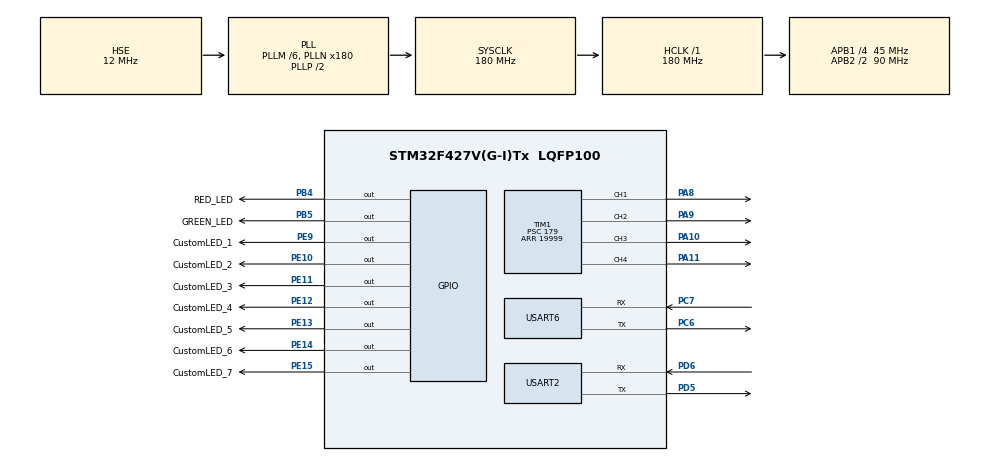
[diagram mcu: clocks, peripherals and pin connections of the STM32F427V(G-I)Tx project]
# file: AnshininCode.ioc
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Dma.Request0=USART2_RX
Dma.USART2_RX.0.Direction=DMA_PERIPH_TO_MEMORY
Dma.USART2_RX.0.FIFOMode=DMA_FIFOMODE_DISABLE
Dma.USART2_RX.0.Instance=DMA1_Stream5
Dma.USART2_RX.0.MemDataAlignment=DMA_MDATAALIGN_BYTE
Dma.USART2_RX.0.MemInc=DMA_MINC_ENABLE
Dma.USART2_RX.0.Mode=DMA_NORMAL
Dma.USART2_RX.0.PeriphDataAlignment=DMA_PDATAALIGN_BYTE
Dma.USART2_RX.0.PeriphInc=DMA_PINC_DISABLE
Dma.USART2_RX.0.Priority=DMA_PRIORITY_MEDIUM
Mcu.Family=STM32F4
Mcu.Name=STM32F427V(G-I)Tx
Mcu.Package=LQFP100
NVIC.DMA1_Stream5_IRQn=true\:0\:0\:false\:false\:true\:false
NVIC.PriorityGroup=NVIC_PRIORITYGROUP_4
NVIC.TIM5_IRQn=true\:1\:0\:true\:true\:true\:1\:true
NVIC.USART2_IRQn=true\:0\:0\:true\:false\:true\:true
NVIC.USART6_IRQn=true\:0\:0\:true\:true\:true\:2\:true
PA0/WKUP.Mode=SYS_WakeUp0
PA0/WKUP.Signal=SYS_WKUP
PA10.Signal=S_TIM1_CH3
PA11.Signal=S_TIM1_CH4
PA13.Mode=Serial_Wire
PA13.Signal=SYS_JTMS-SWDIO
PA14.Mode=Serial_Wire
PA14.Signal=SYS_JTCK-SWCLK
PA8.Signal=S_TIM1_CH1
PA9.Signal=S_TIM1_CH2
PB4.GPIO_Label=RED_LED
PB4.GPIO_Speed=GPIO_SPEED_FREQ_LOW
PB4.PinState=GPIO_PIN_SET
PB4.Signal=GPIO_Output
PB5.GPIO_Label=GREEN_LED
PB5.PinState=GPIO_PIN_SET
PB5.Signal=GPIO_Output
PC6.Mode=Asynchronous
PC6.Signal=USART6_TX
PC7.Mode=Asynchronous
PC7.Signal=USART6_RX
PD5.Mode=Asynchronous
PD5.Signal=USART2_TX
PD6.Mode=Asynchronous
PD6.Signal=USART2_RX
PE10.GPIO_Label=CustomLED_2
PE10.PinState=GPIO_PIN_SET
PE10.Signal=GPIO_Output
PE11.GPIO_Label=CustomLED_3
PE11.PinState=GPIO_PIN_SET
PE11.Signal=GPIO_Output
PE12.GPIO_Label=CustomLED_4
PE12.PinState=GPIO_PIN_SET
PE12.Signal=GPIO_Output
PE13.GPIO_Label=CustomLED_5
PE13.PinState=GPIO_PIN_SET
PE13.Signal=GPIO_Output
PE14.GPIO_Label=CustomLED_6
PE14.PinState=GPIO_PIN_SET
PE14.Signal=GPIO_Output
PE15.GPIO_Label=CustomLED_7
PE15.PinState=GPIO_PIN_SET
PE15.Signal=GPIO_Output
PE9.GPIO_Label=CustomLED_1
PE9.PinState=GPIO_PIN_SET
PE9.Signal=GPIO_Output
PH0/OSC_IN.Mode=HSE-External-Oscillator
PH0/OSC_IN.Signal=RCC_OSC_IN
PH1/OSC_OUT.Mode=HSE-External-Oscillator
PH1/OSC_OUT.Signal=RCC_OSC_OUT
ProjectManager.HeapSize=0x200
ProjectManager.StackSize=0x400
ProjectManager.TargetToolchain=MDK-ARM V5
RCC.48MHZClocksFreq_Value=90000000
RCC.AHBFreq_Value=180000000
RCC.APB1CLKDivider=RCC_HCLK_DIV4
RCC.APB1Freq_Value=45000000
RCC.APB1TimFreq_Value=90000000
RCC.APB2CLKDivider=RCC_HCLK_DIV2
RCC.APB2Freq_Value=90000000
RCC.APB2TimFreq_Value=180000000
RCC.CortexFreq_Value=180000000
RCC.EnbaleCSS=true
RCC.HCLKFreq_Value=180000000
RCC.HSE_VALUE=12000000
RCC.HSI_VALUE=16000000
RCC.LSE_VALUE=32768
RCC.PLLM=6
RCC.PLLN=180
RCC.PLLSourceVirtual=RCC_PLLSOURCE_HSE
RCC.SYSCLKFreq_VALUE=180000000
RCC.SYSCLKSource=RCC_SYSCLKSOURCE_PLLCLK
RCC.VCOOutputFreq_Value=360000000
SH.S_TIM1_CH1.0=TIM1_CH1,PWM Generation1 CH1
SH.S_TIM1_CH2.0=TIM1_CH2,PWM Generation2 CH2
SH.S_TIM1_CH3.0=TIM1_CH3,PWM Generation3 CH3
SH.S_TIM1_CH4.0=TIM1_CH4,PWM Generation4 CH4
TIM1.Channel-PWM\ Generation1\ CH1=TIM_CHANNEL_1
TIM1.Channel-PWM\ Generation2\ CH2=TIM_CHANNEL_2
TIM1.Channel-PWM\ Generation3\ CH3=TIM_CHANNEL_3
TIM1.Channel-PWM\ Generation4\ CH4=TIM_CHANNEL_4
TIM1.OCIdleState_4=TIM_OCIDLESTATE_RESET
TIM1.Period=19999
TIM1.Prescaler=179
TIM1.Pulse-PWM\ Generation1\ CH1=1000
TIM1.Pulse-PWM\ Generation2\ CH2=1000
TIM1.Pulse-PWM\ Generation3\ CH3=1000
TIM1.Pulse-PWM\ Generation4\ CH4=1000
TIM5.Period=9999
TIM5.Prescaler=179
TIM5.TIM_MasterOutputTrigger=TIM_TRGO_UPDATE
USART2.VirtualMode=VM_ASYNC
USART6.OverSampling=UART_OVERSAMPLING_8
USART6.VirtualMode=VM_ASYNC
VP_TIM1_VS_ClockSourceINT.Mode=Internal
VP_TIM5_VS_ClockSourceINT.Mode=Internal
board=custom

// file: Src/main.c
/* USER CODE BEGIN Header */
/**
  ******************************************************************************
  * @file           : main.c
  * @brief          : Main program body
  ******************************************************************************
  ** This notice applies to any and all portions of this file
  * that are not between comment pairs USER CODE BEGIN and
  * USER CODE END. Other portions of this file, whether
  * inserted by the user or by software development tools
  * are owned by their respective copyright owners.
  *
  * COPYRIGHT(c) 2019 STMicroelectronics
  *
  * Redistribution and use in source and binary forms, with or without modification,
  * are permitted provided that the following conditions are met:
  *   1. Redistributions of source code must retain the above copyright notice,
  *      this list of conditions and the following disclaimer.
  *   2. Redistributions in binary form must reproduce the above copyright notice,
  *      this list of conditions and the following disclaimer in the documentation
  *      and/or other materials provided with the distribution.
  *   3. Neither the name of STMicroelectronics nor the names of its contributors
  *      may be used to endorse or promote products derived from this software
  *      without specific prior written permission.
  *
  * THIS SOFTWARE IS PROVIDED BY THE COPYRIGHT HOLDERS AND CONTRIBUTORS "AS IS"
  * AND ANY EXPRESS OR IMPLIED WARRANTIES, INCLUDING, BUT NOT LIMITED TO, THE
  * IMPLIED WARRANTIES OF MERCHANTABILITY AND FITNESS FOR A PARTICULAR PURPOSE ARE
  * DISCLAIMED. IN NO EVENT SHALL THE COPYRIGHT HOLDER OR CONTRIBUTORS BE LIABLE
  * FOR ANY DIRECT, INDIRECT, INCIDENTAL, SPECIAL, EXEMPLARY, OR CONSEQUENTIAL
  * DAMAGES (INCLUDING, BUT NOT LIMITED TO, PROCUREMENT OF SUBSTITUTE GOODS OR
  * SERVICES; LOSS OF USE, DATA, OR PROFITS; OR BUSINESS INTERRUPTION) HOWEVER
  * CAUSED AND ON ANY THEORY OF LIABILITY, WHETHER IN CONTRACT, STRICT LIABILITY,
  * OR TORT (INCLUDING NEGLIGENCE OR OTHERWISE) ARISING IN ANY WAY OUT OF THE USE
  * OF THIS SOFTWARE, EVEN IF ADVISED OF THE POSSIBILITY OF SUCH DAMAGE.
  *
  ******************************************************************************
  */
/* USER CODE END Header */

#include "main.h"
#include "dma.h"
#include "tim.h"
#include "usart.h"
#include "gpio.h"

/* USER CODE BEGIN PD */
#define BlueToothBufferLength 7
/* USER CODE END PD */

void SystemClock_Config(void);
static void MX_NVIC_Init(void);

/* USER CODE BEGIN 0 */

/*USART6接收缓冲*/
uint8_t Usart6RxBuffer[10];
uint8_t Usart6TxBuffer[10];

/*蓝牙接收缓冲*/
uint8_t BLE4_BlueToothBuffer[BlueToothBufferLength];

uint8_t Uart6_RxBuff[256];		//接收缓冲
uint16_t Uart6_Rx_Cnt = 0;		//接收缓冲计数
uint8_t	cAlmStr[] = "数据溢出(大于256)\r\n";
/* USER CODE END 0 */

int main(void)
{

  /* MCU Configuration--------------------------------------------------------*/

  /* Reset of all peripherals, Initializes the Flash interface and the Systick. */
  HAL_Init();

  /* Configure the system clock */
  SystemClock_Config();

  /* Initialize all configured peripherals */
  MX_GPIO_Init();
  MX_DMA_Init();
  MX_TIM1_Init();
  MX_TIM5_Init();
  MX_USART6_UART_Init();
  MX_USART2_UART_Init();

  /* Initialize interrupts */
  MX_NVIC_Init();
  /* USER CODE BEGIN 2 */

	/*开启TIM1的基本定时器配置*/
	HAL_TIM_Base_Start(&htim1);

	/*开启TIM5的中断定时器配置*/
	HAL_TIM_Base_Start_IT(&htim5);

	/*开启USART6接收中断*/
	__HAL_UART_ENABLE_IT(&huart6,UART_IT_RXNE);

	/*开启USART2 RXDMA,并设置地址和源(不开启DMA中断)*/
	HAL_DMA_Start(&hdma_usart2_rx,(uint32_t)(&USART6->DR),(uint32_t)BLE4_BlueToothBuffer,BlueToothBufferLength);
	/*开启USART2空闲中断*/
	__HAL_UART_ENABLE_IT(&huart2,UART_IT_IDLE);

	/*PWM初始化*/
	HAL_TIM_PWM_Start(&htim1, TIM_CHANNEL_1);
	HAL_TIM_PWM_Start(&htim1, TIM_CHANNEL_2);
	HAL_TIM_PWM_Start(&htim1, TIM_CHANNEL_3);
	HAL_TIM_PWM_Start(&htim1, TIM_CHANNEL_4);

	/*初始化完成*/
	printf("Initlization OK!\r\n");

  /* USER CODE END 2 */

  /* Infinite loop */
  while (1)
  {

    /* USER CODE BEGIN 3 */

		/*HAL库自带的延时函数*/
//		HAL_Delay(500);
  }
  /* USER CODE END 3 */
}

void SystemClock_Config(void)
{
  RCC_OscInitTypeDef RCC_OscInitStruct = {0};
  RCC_ClkInitTypeDef RCC_ClkInitStruct = {0};

  /**Configure the main internal regulator output voltage
  */
  __HAL_RCC_PWR_CLK_ENABLE();
  __HAL_PWR_VOLTAGESCALING_CONFIG(PWR_REGULATOR_VOLTAGE_SCALE1);
  /**Initializes the CPU, AHB and APB busses clocks
  */
  RCC_OscInitStruct.OscillatorType = RCC_OSCILLATORTYPE_HSE;
  RCC_OscInitStruct.HSEState = RCC_HSE_ON;
  RCC_OscInitStruct.PLL.PLLState = RCC_PLL_ON;
  RCC_OscInitStruct.PLL.PLLSource = RCC_PLLSOURCE_HSE;
  RCC_OscInitStruct.PLL.PLLM = 6;
  RCC_OscInitStruct.PLL.PLLN = 180;
  RCC_OscInitStruct.PLL.PLLP = RCC_PLLP_DIV2;
  RCC_OscInitStruct.PLL.PLLQ = 4;
  if (HAL_RCC_OscConfig(&RCC_OscInitStruct) != HAL_OK)
  {
    Error_Handler();
  }
  /**Activate the Over-Drive mode
  */
  if (HAL_PWREx_EnableOverDrive() != HAL_OK)
  {
    Error_Handler();
  }
  /**Initializes the CPU, AHB and APB busses clocks
  */
  RCC_ClkInitStruct.ClockType = RCC_CLOCKTYPE_HCLK|RCC_CLOCKTYPE_SYSCLK
                              |RCC_CLOCKTYPE_PCLK1|RCC_CLOCKTYPE_PCLK2;
  RCC_ClkInitStruct.SYSCLKSource = RCC_SYSCLKSOURCE_PLLCLK;
  RCC_ClkInitStruct.AHBCLKDivider = RCC_SYSCLK_DIV1;
  RCC_ClkInitStruct.APB1CLKDivider = RCC_HCLK_DIV4;
  RCC_ClkInitStruct.APB2CLKDivider = RCC_HCLK_DIV2;

  if (HAL_RCC_ClockConfig(&RCC_ClkInitStruct, FLASH_LATENCY_5) != HAL_OK)
  {
    Error_Handler();
  }
  /**Enables the Clock Security System
  */
  HAL_RCC_EnableCSS();
}

/**
  * @brief NVIC Configuration.
  * @retval None
  */
static void MX_NVIC_Init(void)
{
  /* TIM5_IRQn interrupt configuration */
  HAL_NVIC_SetPriority(TIM5_IRQn, 1, 0);
  HAL_NVIC_EnableIRQ(TIM5_IRQn);
  /* USART6_IRQn interrupt configuration */
  HAL_NVIC_SetPriority(USART6_IRQn, 0, 0);
  HAL_NVIC_EnableIRQ(USART6_IRQn);
}

void Error_Handler(void)
{
}

/************************ (C) COPYRIGHT STMicroelectronics *****END OF FILE****/
